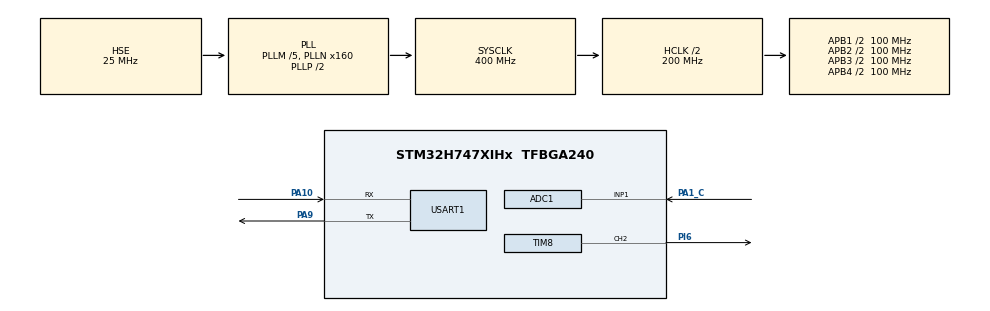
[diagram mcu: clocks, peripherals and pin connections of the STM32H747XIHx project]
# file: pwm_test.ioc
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ADC1.Channel-1\#ChannelRegularConversion=ADC_CHANNEL_1
ADC1.ContinuousConvMode=ENABLE
ADC1.NbrOfConversionFlag=1
ADC1.OffsetNumber-1\#ChannelRegularConversion=ADC_OFFSET_NONE
ADC1.OffsetSignedSaturation-1\#ChannelRegularConversion=DISABLE
ADC1.Rank-1\#ChannelRegularConversion=1
ADC1.Resolution=ADC_RESOLUTION_12B
ADC1.SamplingTime-1\#ChannelRegularConversion=ADC_SAMPLETIME_810CYCLES_5
ADC1.master=1
CortexM4.IPs=BDMA,DMA,FATFS_M4\:I,FREERTOS_M4\:I,IWDG2\:I,MDMA,NVIC2\:I,RCC,USB_DEVICE_M4\:I,USB_HOST_M4\:I,WWDG2\:I,USB_OTG_HS\:I,SPI2\:I,ADC3\:I,FMC\:I,QUADSPI\:I,SAI1\:I,ETH\:I,SPI5\:I,UART8\:I,DCMI\:I,RTC\:I,SDMMC1\:I,SPDIFRX1\:I,HDMI_CEC\:I,TIM13\:I,TIM3\:I,DEBUG,PDM2PCM_M4\:I,PWR,RESMGR_UTILITY,SYS_M4\:I,CORTEX_M4\:I,OPENAMP_M4\:I,VREFBUF,GPIO
CortexM7.IPs=BDMA\:I,DMA\:I,FATFS_M7\:I,FREERTOS_M7\:I,IWDG1\:I,MDMA\:I,NVIC1\:I,RCC\:I,USB_DEVICE_M7\:I,USB_HOST_M7\:I,WWDG1\:I,USART1\:I,CORTEX_M7\:I,DEBUG\:I,PDM2PCM_M7\:I,PWR\:I,RESMGR_UTILITY\:I,SYS\:I,OPENAMP_M7\:I,VREFBUF\:I,GPIO\:I,ADC1\:I,TIM8\:I
Mcu.Family=STM32H7
Mcu.Name=STM32H747XIHx
Mcu.Package=TFBGA240
NVIC1.PriorityGroup=NVIC_PRIORITYGROUP_4
NVIC2.PriorityGroup=NVIC_PRIORITYGROUP_4
PA10.Mode=Asynchronous
PA10.PinAttribute=CortexM7
PA10.Signal=USART1_RX
PA1_C.PinAttribute=CortexM7
PA1_C.Signal=ADCx_INP1
PA9.Mode=Asynchronous
PA9.PinAttribute=CortexM7
PA9.Signal=USART1_TX
PH0-OSC_IN\ (PH0).Mode=HSE-External-Oscillator
PH0-OSC_IN\ (PH0).PinAttribute=Free
PH0-OSC_IN\ (PH0).Signal=RCC_OSC_IN
PH1-OSC_OUT\ (PH1).Mode=HSE-External-Oscillator
PH1-OSC_OUT\ (PH1).PinAttribute=Free
PH1-OSC_OUT\ (PH1).Signal=RCC_OSC_OUT
PI6.PinAttribute=CortexM7
PI6.Signal=S_TIM8_CH2
PJ7.PinAttribute=CortexM7
PJ7.Signal=TIM8_CH2N
ProjectManager.HeapSize=M4-0x200,M7-0x200
ProjectManager.StackSize=M4-0x400,M7-0x400
ProjectManager.TargetToolchain=STM32CubeIDE
RCC.ADCFreq_Value=75000000
RCC.APB1Freq_Value=100000000
RCC.APB2Freq_Value=100000000
RCC.APB3Freq_Value=100000000
RCC.APB4Freq_Value=100000000
RCC.CortexFreq_Value=400000000
RCC.D1PPRE=RCC_APB3_DIV2
RCC.D2PPRE1=RCC_APB1_DIV2
RCC.D2PPRE2=RCC_APB2_DIV2
RCC.D3PPRE=RCC_APB4_DIV2
RCC.DIVM1=5
RCC.DIVM2=2
RCC.DIVN1=160
RCC.DIVN2=12
RCC.DIVQ1=5
RCC.HCLKFreq_Value=200000000
RCC.HPRE=RCC_HCLK_DIV2
RCC.PLL2FRACN=0
RCC.PLL3FRACN=0
RCC.PLLFRACN=0
RCC.PLLSourceVirtual=RCC_PLLSOURCE_HSE
RCC.PWR_Regulator_Voltage_Scale=PWR_REGULATOR_VOLTAGE_SCALE1
RCC.SYSCLKFreq_VALUE=400000000
RCC.SYSCLKSource=RCC_SYSCLKSOURCE_PLLCLK
RCC.SupplySource=PWR_DIRECT_SMPS_SUPPLY
RCC.USBFreq_Value=160000000
SH.ADCx_INP1.0=ADC1_INP1,IN1-Single-Ended
SH.S_TIM8_CH2.0=TIM8_CH2,PWM Generation2 CH2
TIM8.Channel-PWM\ Generation2\ CH2=TIM_CHANNEL_2
TIM8.Period=1000-1
TIM8.Prescaler=0
USART1.VirtualMode-Asynchronous=VM_ASYNC
VP_SYS_M4_VS_Systick.Mode=SysTick
board=STM32H747I-DISCO

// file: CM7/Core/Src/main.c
/* USER CODE BEGIN Header */
/**
  ******************************************************************************
  * @file           : main.c
  * @brief          : Main program body
  ******************************************************************************
  * @attention
  *
  * Copyright (c) 2024 STMicroelectronics.
  * All rights reserved.
  *
  * This software is licensed under terms that can be found in the LICENSE file
  * in the root directory of this software component.
  * If no LICENSE file comes with this software, it is provided AS-IS.
  *
  ******************************************************************************
  */
/* USER CODE END Header */
#include "main.h"

/* USER CODE BEGIN Includes */
#include <stdio.h>
#include <string.h>
/* USER CODE END Includes */

/* USER CODE BEGIN PD */

#ifndef HSEM_ID_0
#define HSEM_ID_0 (0U) /* HW semaphore 0*/
#endif

/* USER CODE END PD */

ADC_HandleTypeDef hadc1;

TIM_HandleTypeDef htim8;

UART_HandleTypeDef huart1;

/* USER CODE BEGIN PV */
uint16_t adcValue;
uint16_t dutyCycle;
char uart_buffer[20];
/* USER CODE END PV */

void SystemClock_Config(void);
static void MX_GPIO_Init(void);
static void MX_ADC1_Init(void);
static void MX_TIM8_Init(void);
static void MX_USART1_UART_Init(void);

int main(void)
{

/* USER CODE BEGIN Boot_Mode_Sequence_0 */
  int32_t timeout;
/* USER CODE END Boot_Mode_Sequence_0 */

/* USER CODE BEGIN Boot_Mode_Sequence_1 */
  /* Wait until CPU2 boots and enters in stop mode or timeout*/
  timeout = 0xFFFF;
  while((__HAL_RCC_GET_FLAG(RCC_FLAG_D2CKRDY) != RESET) && (timeout-- > 0));
  if ( timeout < 0 )
  {
  Error_Handler();
  }
/* USER CODE END Boot_Mode_Sequence_1 */
  /* MCU Configuration--------------------------------------------------------*/

  /* Reset of all peripherals, Initializes the Flash interface and the Systick. */
  HAL_Init();

  /* Configure the system clock */
  SystemClock_Config();
/* USER CODE BEGIN Boot_Mode_Sequence_2 */
/* When system initialization is finished, Cortex-M7 will release Cortex-M4 by means of
HSEM notification */
/*HW semaphore Clock enable*/
__HAL_RCC_HSEM_CLK_ENABLE();
/*Take HSEM */
HAL_HSEM_FastTake(HSEM_ID_0);
/*Release HSEM in order to notify the CPU2(CM4)*/
HAL_HSEM_Release(HSEM_ID_0,0);
/* wait until CPU2 wakes up from stop mode */
timeout = 0xFFFF;
while((__HAL_RCC_GET_FLAG(RCC_FLAG_D2CKRDY) == RESET) && (timeout-- > 0));
if ( timeout < 0 )
{
Error_Handler();
}
/* USER CODE END Boot_Mode_Sequence_2 */

  /* Initialize all configured peripherals */
  MX_GPIO_Init();
  MX_ADC1_Init();
  MX_TIM8_Init();
  MX_USART1_UART_Init();
  /* USER CODE BEGIN 2 */
  HAL_TIM_PWM_Start(&htim8,TIM_CHANNEL_2 );
  /* USER CODE END 2 */

  /* Infinite loop */
  while (1)
  {

    /* USER CODE BEGIN 3 */
	  HAL_ADC_Start(&hadc1);

	  	     if (HAL_ADC_PollForConversion(&hadc1, 100) == HAL_OK) {
	  	         adcValue = HAL_ADC_GetValue(&hadc1);
//	  	       dutyCycle = (adcValue *(htim8.Init.Period+1) ) / 65535;
	  	         dutyCycle = (adcValue * 65535)/65535;

	  	       __HAL_TIM_SET_COMPARE(&htim8, TIM_CHANNEL_2, adcValue);

	  	     sprintf(uart_buffer,"adcValue : %u\r\n",adcValue);
	  	     HAL_UART_Transmit(&huart1, (uint8_t *)uart_buffer, strlen(uart_buffer), HAL_MAX_DELAY);
	  sprintf(uart_buffer,"DutyCycle : %u\r\n",dutyCycle);
	  	  	     HAL_UART_Transmit(&huart1, (uint8_t *)uart_buffer, strlen(uart_buffer), HAL_MAX_DELAY);
	  	  	 HAL_ADC_Stop(&hadc1);
	  	  	     HAL_Delay(2000);

  }
  }
  /* USER CODE END 3 */
}

void SystemClock_Config(void)
{
  RCC_OscInitTypeDef RCC_OscInitStruct = {0};
  RCC_ClkInitTypeDef RCC_ClkInitStruct = {0};

  /** Supply configuration update enable
  */
  HAL_PWREx_ConfigSupply(PWR_DIRECT_SMPS_SUPPLY);

  /** Configure the main internal regulator output voltage
  */
  __HAL_PWR_VOLTAGESCALING_CONFIG(PWR_REGULATOR_VOLTAGE_SCALE1);

  while(!__HAL_PWR_GET_FLAG(PWR_FLAG_VOSRDY)) {}

  /** Initializes the RCC Oscillators according to the specified parameters
  * in the RCC_OscInitTypeDef structure.
  */
  RCC_OscInitStruct.OscillatorType = RCC_OSCILLATORTYPE_HSE;
  RCC_OscInitStruct.HSEState = RCC_HSE_ON;
  RCC_OscInitStruct.PLL.PLLState = RCC_PLL_ON;
  RCC_OscInitStruct.PLL.PLLSource = RCC_PLLSOURCE_HSE;
  RCC_OscInitStruct.PLL.PLLM = 5;
  RCC_OscInitStruct.PLL.PLLN = 160;
  RCC_OscInitStruct.PLL.PLLP = 2;
  RCC_OscInitStruct.PLL.PLLQ = 5;
  RCC_OscInitStruct.PLL.PLLR = 2;
  RCC_OscInitStruct.PLL.PLLRGE = RCC_PLL1VCIRANGE_2;
  RCC_OscInitStruct.PLL.PLLVCOSEL = RCC_PLL1VCOWIDE;
  RCC_OscInitStruct.PLL.PLLFRACN = 0;
  if (HAL_RCC_OscConfig(&RCC_OscInitStruct) != HAL_OK)
  {
    Error_Handler();
  }

  /** Initializes the CPU, AHB and APB buses clocks
  */
  RCC_ClkInitStruct.ClockType = RCC_CLOCKTYPE_HCLK|RCC_CLOCKTYPE_SYSCLK
                              |RCC_CLOCKTYPE_PCLK1|RCC_CLOCKTYPE_PCLK2
                              |RCC_CLOCKTYPE_D3PCLK1|RCC_CLOCKTYPE_D1PCLK1;
  RCC_ClkInitStruct.SYSCLKSource = RCC_SYSCLKSOURCE_PLLCLK;
  RCC_ClkInitStruct.SYSCLKDivider = RCC_SYSCLK_DIV1;
  RCC_ClkInitStruct.AHBCLKDivider = RCC_HCLK_DIV2;
  RCC_ClkInitStruct.APB3CLKDivider = RCC_APB3_DIV2;
  RCC_ClkInitStruct.APB1CLKDivider = RCC_APB1_DIV2;
  RCC_ClkInitStruct.APB2CLKDivider = RCC_APB2_DIV2;
  RCC_ClkInitStruct.APB4CLKDivider = RCC_APB4_DIV2;

  if (HAL_RCC_ClockConfig(&RCC_ClkInitStruct, FLASH_LATENCY_2) != HAL_OK)
  {
    Error_Handler();
  }
}

static void MX_ADC1_Init(void)
{

  ADC_MultiModeTypeDef multimode = {0};
  ADC_ChannelConfTypeDef sConfig = {0};

  /** Common config
  */
  hadc1.Instance = ADC1;
  hadc1.Init.ScanConvMode = ADC_SCAN_DISABLE;
  hadc1.Init.EOCSelection = ADC_EOC_SINGLE_CONV;
  hadc1.Init.LowPowerAutoWait = DISABLE;
  hadc1.Init.ContinuousConvMode = ENABLE;
  hadc1.Init.NbrOfConversion = 1;
  hadc1.Init.DiscontinuousConvMode = DISABLE;
  hadc1.Init.ExternalTrigConv = ADC_SOFTWARE_START;
  hadc1.Init.ExternalTrigConvEdge = ADC_EXTERNALTRIGCONVEDGE_NONE;
  hadc1.Init.ConversionDataManagement = ADC_CONVERSIONDATA_DR;
  hadc1.Init.Overrun = ADC_OVR_DATA_PRESERVED;
  hadc1.Init.LeftBitShift = ADC_LEFTBITSHIFT_NONE;
  hadc1.Init.OversamplingMode = DISABLE;
  hadc1.Init.Oversampling.Ratio = 1;
  if (HAL_ADC_Init(&hadc1) != HAL_OK)
  {
    Error_Handler();
  }
  hadc1.Init.ClockPrescaler = ADC_CLOCK_ASYNC_DIV1;
  hadc1.Init.Resolution = ADC_RESOLUTION_12B;
  if (HAL_ADC_Init(&hadc1) != HAL_OK)
  {
    Error_Handler();
  }

  /** Configure the ADC multi-mode
  */
  multimode.Mode = ADC_MODE_INDEPENDENT;
  if (HAL_ADCEx_MultiModeConfigChannel(&hadc1, &multimode) != HAL_OK)
  {
    Error_Handler();
  }

  /** Configure Regular Channel
  */
  sConfig.Channel = ADC_CHANNEL_1;
  sConfig.Rank = ADC_REGULAR_RANK_1;
  sConfig.SamplingTime = ADC_SAMPLETIME_810CYCLES_5;
  sConfig.SingleDiff = ADC_SINGLE_ENDED;
  sConfig.OffsetNumber = ADC_OFFSET_NONE;
  sConfig.Offset = 0;
  sConfig.OffsetSignedSaturation = DISABLE;
  if (HAL_ADC_ConfigChannel(&hadc1, &sConfig) != HAL_OK)
  {
    Error_Handler();
  }

}

static void MX_TIM8_Init(void)
{

  TIM_MasterConfigTypeDef sMasterConfig = {0};
  TIM_OC_InitTypeDef sConfigOC = {0};
  TIM_BreakDeadTimeConfigTypeDef sBreakDeadTimeConfig = {0};

  htim8.Instance = TIM8;
  htim8.Init.Prescaler = 0;
  htim8.Init.CounterMode = TIM_COUNTERMODE_UP;
  htim8.Init.Period = 65535;
  htim8.Init.ClockDivision = TIM_CLOCKDIVISION_DIV1;
  htim8.Init.RepetitionCounter = 0;
  htim8.Init.AutoReloadPreload = TIM_AUTORELOAD_PRELOAD_DISABLE;
  if (HAL_TIM_PWM_Init(&htim8) != HAL_OK)
  {
    Error_Handler();
  }
  sMasterConfig.MasterOutputTrigger = TIM_TRGO_RESET;
  sMasterConfig.MasterOutputTrigger2 = TIM_TRGO2_RESET;
  sMasterConfig.MasterSlaveMode = TIM_MASTERSLAVEMODE_DISABLE;
  if (HAL_TIMEx_MasterConfigSynchronization(&htim8, &sMasterConfig) != HAL_OK)
  {
    Error_Handler();
  }
  sConfigOC.OCMode = TIM_OCMODE_PWM1;
  sConfigOC.Pulse = 0;
  sConfigOC.OCPolarity = TIM_OCPOLARITY_HIGH;
  sConfigOC.OCNPolarity = TIM_OCNPOLARITY_HIGH;
  sConfigOC.OCFastMode = TIM_OCFAST_DISABLE;
  sConfigOC.OCIdleState = TIM_OCIDLESTATE_RESET;
  sConfigOC.OCNIdleState = TIM_OCNIDLESTATE_RESET;
  if (HAL_TIM_PWM_ConfigChannel(&htim8, &sConfigOC, TIM_CHANNEL_2) != HAL_OK)
  {
    Error_Handler();
  }
  sBreakDeadTimeConfig.OffStateRunMode = TIM_OSSR_DISABLE;
  sBreakDeadTimeConfig.OffStateIDLEMode = TIM_OSSI_DISABLE;
  sBreakDeadTimeConfig.LockLevel = TIM_LOCKLEVEL_OFF;
  sBreakDeadTimeConfig.DeadTime = 0;
  sBreakDeadTimeConfig.BreakState = TIM_BREAK_DISABLE;
  sBreakDeadTimeConfig.BreakPolarity = TIM_BREAKPOLARITY_HIGH;
  sBreakDeadTimeConfig.BreakFilter = 0;
  sBreakDeadTimeConfig.Break2State = TIM_BREAK2_DISABLE;
  sBreakDeadTimeConfig.Break2Polarity = TIM_BREAK2POLARITY_HIGH;
  sBreakDeadTimeConfig.Break2Filter = 0;
  sBreakDeadTimeConfig.AutomaticOutput = TIM_AUTOMATICOUTPUT_DISABLE;
  if (HAL_TIMEx_ConfigBreakDeadTime(&htim8, &sBreakDeadTimeConfig) != HAL_OK)
  {
    Error_Handler();
  }
  HAL_TIM_MspPostInit(&htim8);

}

static void MX_USART1_UART_Init(void)
{

  huart1.Instance = USART1;
  huart1.Init.BaudRate = 115200;
  huart1.Init.WordLength = UART_WORDLENGTH_8B;
  huart1.Init.StopBits = UART_STOPBITS_1;
  huart1.Init.Parity = UART_PARITY_NONE;
  huart1.Init.Mode = UART_MODE_TX_RX;
  huart1.Init.HwFlowCtl = UART_HWCONTROL_NONE;
  huart1.Init.OverSampling = UART_OVERSAMPLING_16;
  huart1.Init.OneBitSampling = UART_ONE_BIT_SAMPLE_DISABLE;
  huart1.Init.ClockPrescaler = UART_PRESCALER_DIV1;
  huart1.AdvancedInit.AdvFeatureInit = UART_ADVFEATURE_NO_INIT;
  if (HAL_UART_Init(&huart1) != HAL_OK)
  {
    Error_Handler();
  }
  if (HAL_UARTEx_SetTxFifoThreshold(&huart1, UART_TXFIFO_THRESHOLD_1_8) != HAL_OK)
  {
    Error_Handler();
  }
  if (HAL_UARTEx_SetRxFifoThreshold(&huart1, UART_RXFIFO_THRESHOLD_1_8) != HAL_OK)
  {
    Error_Handler();
  }
  if (HAL_UARTEx_DisableFifoMode(&huart1) != HAL_OK)
  {
    Error_Handler();
  }

}

static void MX_GPIO_Init(void)
{
/* USER CODE BEGIN MX_GPIO_Init_1 */
	GPIO_InitTypeDef GPIO_InitStruct = {0};
/* USER CODE END MX_GPIO_Init_1 */

  /* GPIO Ports Clock Enable */
  __HAL_RCC_GPIOI_CLK_ENABLE();
  __HAL_RCC_GPIOA_CLK_ENABLE();
  __HAL_RCC_GPIOJ_CLK_ENABLE();

/* USER CODE BEGIN MX_GPIO_Init_2 */
  GPIO_InitStruct.Pin = GPIO_PIN_7;
  GPIO_InitStruct.Mode = GPIO_MODE_AF_PP;
  GPIO_InitStruct.Pull = GPIO_NOPULL;
  GPIO_InitStruct.Speed = GPIO_SPEED_FREQ_HIGH;
  GPIO_InitStruct.Alternate = GPIO_AF3_TIM8;
  HAL_GPIO_Init(GPIOJ, &GPIO_InitStruct);
/* USER CODE END MX_GPIO_Init_2 */
}

void Error_Handler(void)
{
  __disable_irq();
  while (1)
  {
  }
}
